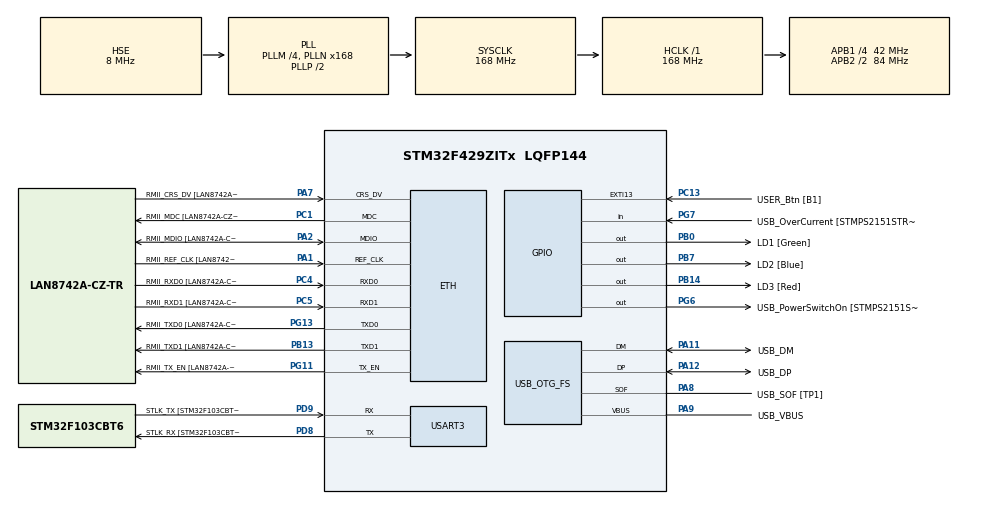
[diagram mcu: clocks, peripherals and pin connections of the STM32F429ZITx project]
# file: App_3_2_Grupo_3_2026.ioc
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ETH.MediaInterface=HAL_ETH_RMII_MODE
ETH.PHY_Name=LAN8742A_PHY_ADDRESS
ETH.PHY_Value=0
ETH.PhyAddress=0
Mcu.Family=STM32F4
Mcu.Name=STM32F429ZITx
Mcu.Package=LQFP144
NVIC.PriorityGroup=NVIC_PRIORITYGROUP_4
PA1.GPIO_Label=RMII_REF_CLK [LAN8742A-CZ-TR_REFCLK0]
PA1.Mode=RMII
PA1.Signal=ETH_REF_CLK
PA10.GPIO_Label=USB_ID
PA10.Signal=USB_OTG_FS_ID
PA11.GPIO_Label=USB_DM
PA11.Mode=Device_Only
PA11.Signal=USB_OTG_FS_DM
PA12.GPIO_Label=USB_DP
PA12.Mode=Device_Only
PA12.Signal=USB_OTG_FS_DP
PA13.GPIO_Label=TMS
PA13.Mode=Serial_Wire
PA13.Signal=SYS_JTMS-SWDIO
PA14.GPIO_Label=TCK
PA14.Mode=Serial_Wire
PA14.Signal=SYS_JTCK-SWCLK
PA2.GPIO_Label=RMII_MDIO [LAN8742A-CZ-TR_MDIO]
PA2.Mode=RMII
PA2.Signal=ETH_MDIO
PA7.GPIO_Label=RMII_CRS_DV [LAN8742A-CZ-TR_CRS_DV]
PA7.Mode=RMII
PA7.Signal=ETH_CRS_DV
PA8.GPIO_Label=USB_SOF [TP1]
PA8.Mode=Activate_SOF_FS
PA8.Signal=USB_OTG_FS_SOF
PA9.GPIO_Label=USB_VBUS
PA9.Mode=Activate_VBUS
PA9.Signal=USB_OTG_FS_VBUS
PB0.GPIO_Label=LD1 [Green]
PB0.Signal=GPIO_Output
PB13.GPIO_Label=RMII_TXD1 [LAN8742A-CZ-TR_TXD1]
PB13.Mode=RMII
PB13.Signal=ETH_TXD1
PB14.GPIO_Label=LD3 [Red]
PB14.Signal=GPIO_Output
PB7.GPIO_Label=LD2 [Blue]
PB7.Signal=GPIO_Output
PC1.GPIO_Label=RMII_MDC [LAN8742A-CZ-TR_MDC]
PC1.Mode=RMII
PC1.Signal=ETH_MDC
PC13.GPIO_Label=USER_Btn [B1]
PC13.Signal=GPXTI13
PC14/OSC32_IN.Mode=LSE-External-Oscillator
PC14/OSC32_IN.Signal=RCC_OSC32_IN
PC15/OSC32_OUT.Mode=LSE-External-Oscillator
PC15/OSC32_OUT.Signal=RCC_OSC32_OUT
PC4.GPIO_Label=RMII_RXD0 [LAN8742A-CZ-TR_RXD0]
PC4.Mode=RMII
PC4.Signal=ETH_RXD0
PC5.GPIO_Label=RMII_RXD1 [LAN8742A-CZ-TR_RXD1]
PC5.Mode=RMII
PC5.Signal=ETH_RXD1
PD8.GPIO_Label=STLK_RX [STM32F103CBT6_PA3]
PD8.Mode=Asynchronous
PD8.Signal=USART3_TX
PD9.GPIO_Label=STLK_TX [STM32F103CBT6_PA2]
PD9.Mode=Asynchronous
PD9.Signal=USART3_RX
PG11.GPIO_Label=RMII_TX_EN [LAN8742A-CZ-TR_TXEN]
PG11.Mode=RMII
PG11.Signal=ETH_TX_EN
PG13.GPIO_Label=RMII_TXD0 [LAN8742A-CZ-TR_TXD0]
PG13.Mode=RMII
PG13.Signal=ETH_TXD0
PG6.GPIO_Label=USB_PowerSwitchOn [STMPS2151STR_EN]
PG6.Signal=GPIO_Output
PG7.GPIO_Label=USB_OverCurrent [STMPS2151STR_FAULT]
PG7.Signal=GPIO_Input
PH0/OSC_IN.GPIO_Label=MCO [STM32F103CBT6_PA8]
PH0/OSC_IN.Mode=HSE-External-Clock-Source
PH0/OSC_IN.Signal=RCC_OSC_IN
PH1/OSC_OUT.Mode=HSE-External-Clock-Source
PH1/OSC_OUT.Signal=RCC_OSC_OUT
ProjectManager.HeapSize=0x200
ProjectManager.StackSize=0x400
ProjectManager.TargetToolchain=STM32CubeIDE
RCC.48MHZClocksFreq_Value=48000000
RCC.AHBFreq_Value=168000000
RCC.APB1CLKDivider=RCC_HCLK_DIV4
RCC.APB1Freq_Value=42000000
RCC.APB1TimFreq_Value=84000000
RCC.APB2CLKDivider=RCC_HCLK_DIV2
RCC.APB2Freq_Value=84000000
RCC.APB2TimCLKDivider=2
RCC.APB2TimFreq_Value=168000000
RCC.CortexFreq_Value=168000000
RCC.HCLKFreq_Value=168000000
RCC.HSE_VALUE=8000000
RCC.HSI_VALUE=16000000
RCC.PLLM=4
RCC.PLLMUL=RCC_PLL_MUL9
RCC.PLLN=168
RCC.PLLQ=7
RCC.PRESCALERUSB=RCC_USBCLKSOURCE_PLL_DIV1_5
RCC.SYSCLKFreq_VALUE=168000000
RCC.SYSCLKSource=RCC_SYSCLKSOURCE_PLLCLK
RCC.SYSCLKSourceVirtual=RCC_SYSCLKSOURCE_PLLCLK
RCC.USBFreq_Value=48000000
RCC.VCOOutputFreq_Value=336000000
USART3.VirtualMode=VM_ASYNC
USB_OTG_FS.VirtualMode=Device_Only
board=NUCLEO-F429ZI

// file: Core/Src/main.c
/* USER CODE BEGIN Header */
/**
  ******************************************************************************
  * @file           : main.c
  * @brief          : Main program body
  ******************************************************************************
  * App_3_2_Grupo_3_2026 - AFP3 - Driver GPIO
  *
  * Aplicacion (refactor de App 1.2 con driver): secuencia de encendido de los
  * 3 leds onboard (200 ms encendido, 200 ms apagado). El pulsador de usuario
  * invierte el sentido de la secuencia cada vez que se presiona.
  * Toda la gestion del modulo GPIO se realiza exclusivamente con las funciones
  * del driver API_GPIO (no se usan funciones HAL_GPIO_* en este archivo).
  ******************************************************************************
  * @attention
  *
  * Copyright (c) 2026 STMicroelectronics.
  * All rights reserved.
  *
  * This software is licensed under terms that can be found in the LICENSE file
  * in the root directory of this software component.
  * If no LICENSE file comes with this software, it is provided AS-IS.
  *
  ******************************************************************************
  */
/* USER CODE END Header */
#include "main.h"
#include "string.h"
#include "API_GPIO.h"

/* USER CODE BEGIN PD */
#define LED_COUNT	3		/* Cantidad de leds del vector: extensible a mas leds */
#define TIEMPO_MS	200		/* Tiempo de encendido y de apagado de cada led [ms] */
#define PASO_MS		10		/* Paso de lectura del pulsador dentro de la espera [ms] */
/* USER CODE END PD */

ETH_TxPacketConfig TxConfig;
ETH_DMADescTypeDef  DMARxDscrTab[ETH_RX_DESC_CNT]; /* Ethernet Rx DMA Descriptors */
ETH_DMADescTypeDef  DMATxDscrTab[ETH_TX_DESC_CNT]; /* Ethernet Tx DMA Descriptors */

ETH_HandleTypeDef heth;

UART_HandleTypeDef huart3;

PCD_HandleTypeDef hpcd_USB_OTG_FS;

/* USER CODE BEGIN PV */
/* Vector de leds de la placa: con este formato la app queda general y puede
 * extenderse a mas leds con minimas modificaciones (solo agregar elementos) */
led_t leds[LED_COUNT] = {
	{LD1_GPIO_Port, LD1_Pin},
	{LD2_GPIO_Port, LD2_Pin},
	{LD3_GPIO_Port, LD3_Pin}
};

const button_t userButton = {USER_Btn_GPIO_Port, USER_Btn_Pin};

buttonStatus_t botonAnterior = false;	/* Estado anterior del pulsador (para flanco) */
int8_t direccion = 1;					/* 1 = LD1->LD3, -1 = sentido inverso */
/* USER CODE END PV */

void SystemClock_Config(void);
/* El prototipo de MX_GPIO_Init() paso al driver: ver API_GPIO.h */
static void MX_ETH_Init(void);
static void MX_USART3_UART_Init(void);
static void MX_USB_OTG_FS_PCD_Init(void);
/* USER CODE BEGIN PFP */
static void esperarConBoton(uint16_t tiempoMs);
/* USER CODE END PFP */

int main(void)
{

  /* MCU Configuration--------------------------------------------------------*/

  /* Reset of all peripherals, Initializes the Flash interface and the Systick. */
  HAL_Init();

  /* Configure the system clock */
  SystemClock_Config();

  /* Initialize all configured peripherals */
  MX_GPIO_Init();
  MX_ETH_Init();
  MX_USART3_UART_Init();
  MX_USB_OTG_FS_PCD_Init();

  /* Infinite loop */
  /* USER CODE BEGIN WHILE */
  uint8_t indice = 0;

  while (1)
  {
	  writeLedOn_GPIO(leds[indice]);
	  esperarConBoton(TIEMPO_MS);

	  writeLedOff_GPIO(leds[indice]);
	  esperarConBoton(TIEMPO_MS);

	  /* Avance de la secuencia en el sentido actual (circular en ambos sentidos) */
	  indice = (uint8_t)((indice + direccion + LED_COUNT) % LED_COUNT);
    /* USER CODE END WHILE */

  }
}

void SystemClock_Config(void)
{
  RCC_OscInitTypeDef RCC_OscInitStruct = {0};
  RCC_ClkInitTypeDef RCC_ClkInitStruct = {0};

  /** Configure the main internal regulator output voltage
  */
  __HAL_RCC_PWR_CLK_ENABLE();
  __HAL_PWR_VOLTAGESCALING_CONFIG(PWR_REGULATOR_VOLTAGE_SCALE1);

  /** Initializes the RCC Oscillators according to the specified parameters
  * in the RCC_OscInitTypeDef structure.
  */
  RCC_OscInitStruct.OscillatorType = RCC_OSCILLATORTYPE_HSE;
  RCC_OscInitStruct.HSEState = RCC_HSE_BYPASS;
  RCC_OscInitStruct.PLL.PLLState = RCC_PLL_ON;
  RCC_OscInitStruct.PLL.PLLSource = RCC_PLLSOURCE_HSE;
  RCC_OscInitStruct.PLL.PLLM = 4;
  RCC_OscInitStruct.PLL.PLLN = 168;
  RCC_OscInitStruct.PLL.PLLP = RCC_PLLP_DIV2;
  RCC_OscInitStruct.PLL.PLLQ = 7;
  if (HAL_RCC_OscConfig(&RCC_OscInitStruct) != HAL_OK)
  {
    Error_Handler();
  }

  /** Initializes the CPU, AHB and APB buses clocks
  */
  RCC_ClkInitStruct.ClockType = RCC_CLOCKTYPE_HCLK|RCC_CLOCKTYPE_SYSCLK
                              |RCC_CLOCKTYPE_PCLK1|RCC_CLOCKTYPE_PCLK2;
  RCC_ClkInitStruct.SYSCLKSource = RCC_SYSCLKSOURCE_PLLCLK;
  RCC_ClkInitStruct.AHBCLKDivider = RCC_SYSCLK_DIV1;
  RCC_ClkInitStruct.APB1CLKDivider = RCC_HCLK_DIV4;
  RCC_ClkInitStruct.APB2CLKDivider = RCC_HCLK_DIV2;

  if (HAL_RCC_ClockConfig(&RCC_ClkInitStruct, FLASH_LATENCY_5) != HAL_OK)
  {
    Error_Handler();
  }
}

static void MX_ETH_Init(void)
{

   static uint8_t MACAddr[6];

  heth.Instance = ETH;
  MACAddr[0] = 0x00;
  MACAddr[1] = 0x80;
  MACAddr[2] = 0xE1;
  MACAddr[3] = 0x00;
  MACAddr[4] = 0x00;
  MACAddr[5] = 0x00;
  heth.Init.MACAddr = &MACAddr[0];
  heth.Init.MediaInterface = HAL_ETH_RMII_MODE;
  heth.Init.TxDesc = DMATxDscrTab;
  heth.Init.RxDesc = DMARxDscrTab;
  heth.Init.RxBuffLen = 1524;

  if (HAL_ETH_Init(&heth) != HAL_OK)
  {
    Error_Handler();
  }

  memset(&TxConfig, 0 , sizeof(ETH_TxPacketConfig));
  TxConfig.Attributes = ETH_TX_PACKETS_FEATURES_CSUM | ETH_TX_PACKETS_FEATURES_CRCPAD;
  TxConfig.ChecksumCtrl = ETH_CHECKSUM_IPHDR_PAYLOAD_INSERT_PHDR_CALC;
  TxConfig.CRCPadCtrl = ETH_CRC_PAD_INSERT;

}

static void MX_USART3_UART_Init(void)
{

  huart3.Instance = USART3;
  huart3.Init.BaudRate = 115200;
  huart3.Init.WordLength = UART_WORDLENGTH_8B;
  huart3.Init.StopBits = UART_STOPBITS_1;
  huart3.Init.Parity = UART_PARITY_NONE;
  huart3.Init.Mode = UART_MODE_TX_RX;
  huart3.Init.HwFlowCtl = UART_HWCONTROL_NONE;
  huart3.Init.OverSampling = UART_OVERSAMPLING_16;
  if (HAL_UART_Init(&huart3) != HAL_OK)
  {
    Error_Handler();
  }

}

static void MX_USB_OTG_FS_PCD_Init(void)
{

  hpcd_USB_OTG_FS.Instance = USB_OTG_FS;
  hpcd_USB_OTG_FS.Init.dev_endpoints = 4;
  hpcd_USB_OTG_FS.Init.speed = PCD_SPEED_FULL;
  hpcd_USB_OTG_FS.Init.dma_enable = DISABLE;
  hpcd_USB_OTG_FS.Init.phy_itface = PCD_PHY_EMBEDDED;
  hpcd_USB_OTG_FS.Init.Sof_enable = ENABLE;
  hpcd_USB_OTG_FS.Init.low_power_enable = DISABLE;
  hpcd_USB_OTG_FS.Init.lpm_enable = DISABLE;
  hpcd_USB_OTG_FS.Init.vbus_sensing_enable = ENABLE;
  hpcd_USB_OTG_FS.Init.use_dedicated_ep1 = DISABLE;
  if (HAL_PCD_Init(&hpcd_USB_OTG_FS) != HAL_OK)
  {
    Error_Handler();
  }

}

/* USER CODE BEGIN 4 */
/**
  * @brief Espera el tiempo indicado leyendo el pulsador cada PASO_MS.
  *        Si se detecta un flanco ascendente (pulsacion), invierte el sentido
  *        de la secuencia de leds.
  * @param tiempoMs: tiempo total de espera en milisegundos
  * @retval None
  */
static void esperarConBoton(uint16_t tiempoMs)
{
	for (uint16_t t = 0; t < tiempoMs; t += PASO_MS)
	{
		buttonStatus_t actual = readButton_GPIO(userButton);
		if (actual && !botonAnterior)
		{
			direccion = -direccion;	/* flanco ascendente detectado: invertir */
		}
		botonAnterior = actual;
		HAL_Delay(PASO_MS);
	}
}
/* USER CODE END 4 */

void Error_Handler(void)
{
  __disable_irq();
  while (1)
  {
  }
}
